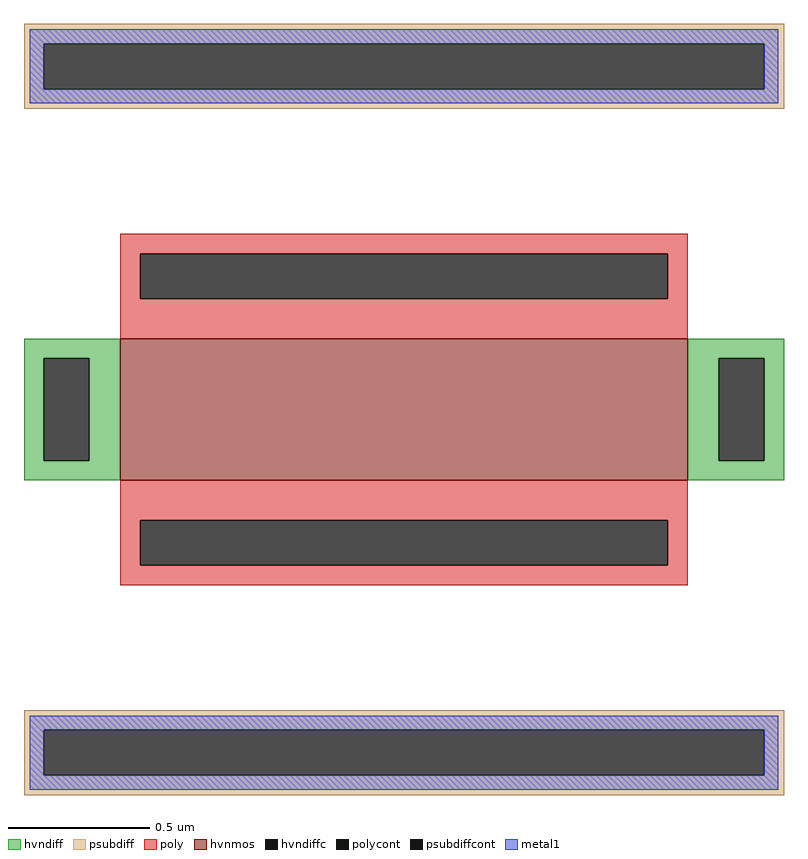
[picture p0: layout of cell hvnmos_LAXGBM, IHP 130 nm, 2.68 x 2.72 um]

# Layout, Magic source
magic
tech ihp-sg13g2
<< hvnmos >>
rect -100 -25 100 25
<< hvndiff >>
rect -134 18 -100 25
rect -134 -18 -127 18
rect -111 -18 -100 18
rect -134 -25 -100 -18
rect 100 18 134 25
rect 100 -18 111 18
rect 127 -18 134 18
rect 100 -25 134 -18
<< hvndiffc >>
rect -127 -18 -111 18
rect 111 -18 127 18
<< psubdiff >>
rect -134 129 134 136
rect -134 113 -127 129
rect 127 113 134 129
rect -134 106 134 113
rect -134 -113 134 -106
rect -134 -129 -127 -113
rect 127 -129 134 -113
rect -134 -136 134 -129
<< psubdiffcont >>
rect -127 113 127 129
rect -127 -129 127 -113
<< poly >>
rect -100 55 100 62
rect -100 39 -93 55
rect 93 39 100 55
rect -100 25 100 39
rect -100 -39 100 -25
rect -100 -55 -93 -39
rect 93 -55 100 -39
rect -100 -62 100 -55
<< polycont >>
rect -93 39 93 55
rect -93 -55 93 -39
<< metal1 >>
rect -132 129 132 134
rect -132 113 -127 129
rect 127 113 132 129
rect -132 108 132 113
rect -132 -113 132 -108
rect -132 -129 -127 -113
rect 127 -129 132 -113
rect -132 -134 132 -129
<< properties >>
string gencell hvnmos
string library sg13g2_devstdin
string parameters w 0.5 l 2 nf 1 nx 1 dx 0.21 ny 1 dy 0.18 wmin 0.50 lmin 0.50 class mosfet gcontcov_t 100 gcontcov_b 100 dcontcov_l 100 dcontcov_r 100 guard_distf 2 glc 0 grc 0 gtc 1 gbc 1
<< end >>
